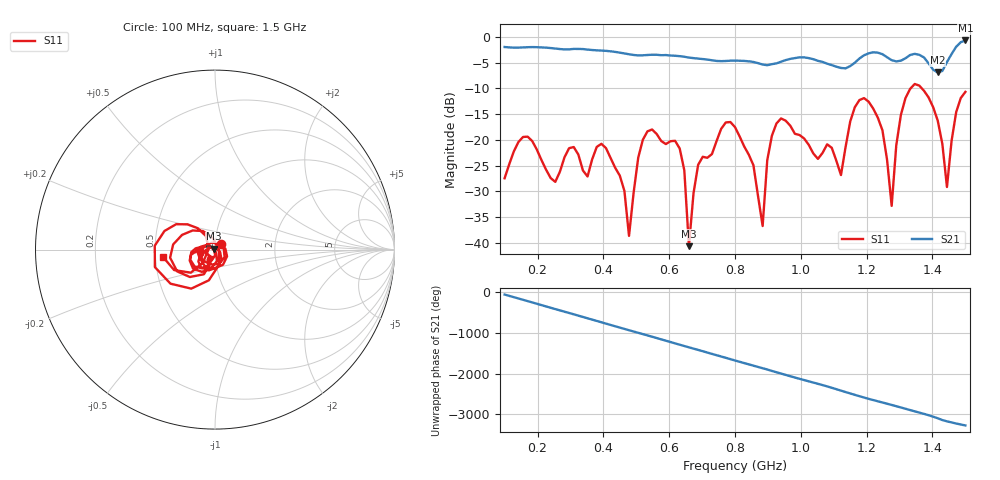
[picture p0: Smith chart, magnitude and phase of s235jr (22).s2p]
! NanoVNA-App
! Date: 2025-09-25 15:04:20
! Start: 100MHz Stop: 1,5GHz Points: 101
! S-Parameter data: F S11 S21 S12 S22
# Hz S RI R 50
!  Frequency  S11_Real  S11_Imag  S21_Real  S21_Imag  S12_Real  S12_Imag  S22_Real  S22_Imag
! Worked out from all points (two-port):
!   101 points, 100 MHz to 1.5 GHz, reference 50 ohm
!   highest |S21| = -0.69 dB at 1.5 GHz (marker M1); lowest = -6.9 dB at 1.416 GHz (marker M2)
!   |S21| within 3 dB of the highest: start of sweep to 622.6 MHz; 1.189 GHz to 1.256 GHz (66.49 MHz wide, 5.44 % of centre) (the widest 2 of 4)
!   lowest |S11| = -40.7 dB at 660 MHz (marker M3), VSWR 1.02, Z = 49.3 + j0.551 ohm
!   |S11| at or under -10 dB: start of sweep to 1.334 GHz; 1.368 GHz to end of sweep
!   S12 and S22 are empty: the file has one direction only
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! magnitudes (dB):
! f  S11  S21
! 100 MHz  -27.5  -2.0
! 156 MHz  -19.4  -2.0
! 338 MHz  -26.0  -2.4
! 408 MHz  -21.6  -2.7
! 478 MHz  -38.7  -3.4
! 520 MHz  -20.0  -3.6
! 576 MHz  -20.2  -3.6
! 632 MHz  -21.7  -3.7
! 660 MHz  -40.7  -4.0
! 688 MHz  -24.9  -4.2
! 800 MHz  -17.5  -4.6
! 884 MHz  -36.8  -5.4
! 926 MHz  -16.8  -5.1
! 1.038 GHz  -22.7  -4.3
! 1.122 GHz  -26.8  -6.0
! 1.192 GHz  -11.9  -3.6
! 1.248 GHz  -18.2  -3.4
! 1.276 GHz  -32.8  -4.5
! 1.332 GHz  -10.1  -3.5
! 1.416 GHz  -16.3  -6.9
! 1.444 GHz  -29.2  -4.9
! 1.5 GHz  -10.7  -0.7
